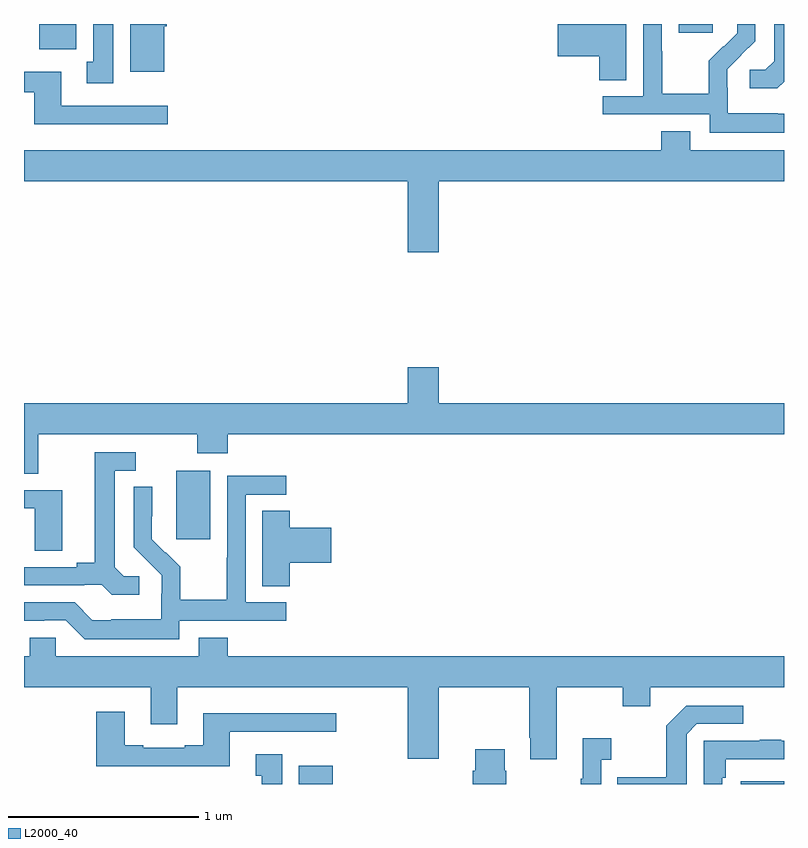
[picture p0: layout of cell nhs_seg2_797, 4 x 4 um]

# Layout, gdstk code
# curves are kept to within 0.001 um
import gdstk
lib = gdstk.Library(unit=1e-6, precision=1e-09)
def R(c, l, rs):  # rectangles x0, y0, x1, y1
    for r in rs: c.add(gdstk.rectangle(r[:2], r[2:], *l))
def P(c, l, *ps):  # polygons
    for p in ps: c.add(gdstk.Polygon(p, *l))
L2000_40 = (2000, 40)

nhs_seg2_797 = lib.new_cell('nhs_seg2_797')
R(nhs_seg2_797, L2000_40, [(152.447,641.8,152.626,641.896), (154.773,641.8,155,641.814), (151.802,643.089,151.981,643.45), (151.079,645.668,151.276,645.8), (154.445,645.753,154.624,645.8)])
P(nhs_seg2_797, L2000_40, [(151.471,645.8),(151.364,645.8),(151.364,645.602),(151.331,645.602),(151.331,645.489),(151.471,645.489)],
  [(155,645.497),(155,645.8),(154.949,645.8),(154.949,645.605),(154.902,645.558),(154.821,645.558),(154.821,645.461),(154.964,645.461)],
  [(155,645.327),(154.967,645.327),(154.967,645.331),(154.704,645.331),(154.704,645.465),(154.702,645.465),(154.702,645.562),(154.848,645.71),(154.848,645.8),(154.754,645.8),(154.754,645.752),(154.683,645.681),(154.68,645.684),(154.603,645.607),(154.603,645.433),(154.359,645.433),(154.359,645.656),(154.356,645.656),(154.356,645.8),(154.26,645.8),(154.26,645.42),(154.047,645.42),(154.047,645.324),(154.608,645.324),(154.608,645.227),(155,645.227)],
  [(151.738,645.788),(151.751,645.788),(151.751,645.8),(151.559,645.8),(151.559,645.548),(151.738,645.548)],
  [(154.171,645.8),(153.81,645.8),(153.81,645.629),(154.028,645.629),(154.028,645.505),(154.171,645.505)],
  [(151.756,645.369),(151.195,645.369),(151.195,645.55),(151,645.55),(151,645.441),(151.055,645.441),(151.055,645.272),(151.756,645.272)],
  [(153.184,644.972),(155,644.972),(155,645.136),(154.507,645.136),(154.507,645.235),(154.355,645.235),(154.355,645.136),(151,645.136),(151,644.972),(153.02,644.972),(153.02,644.598),(153.184,644.598)],
  [(151.075,643.64),(151.912,643.64),(151.912,643.541),(152.072,643.541),(152.072,643.64),(155,643.64),(155,643.804),(153.184,643.804),(153.184,643.993),(153.02,643.993),(153.02,643.804),(151,643.804),(151,643.432),(151.075,643.432)],
  [(151.606,642.894),(151.524,642.894),(151.477,642.941),(151.477,643.449),(151.588,643.449),(151.588,643.545),(151.373,643.545),(151.373,642.965),(151.277,642.965),(151.277,642.942),(151,642.942),(151,642.846),(151.316,642.846),(151.316,642.849),(151.41,642.849),(151.462,642.797),(151.606,642.797)],
  [(151.818,642.66),(152.38,642.66),(152.38,642.756),(152.166,642.756),(152.166,643.323),(152.38,643.323),(152.38,643.422),(152.07,643.422),(152.07,642.992),(152.068,642.992),(152.068,642.769),(151.823,642.769),(151.823,642.943),(151.746,643.02),(151.743,643.017),(151.673,643.088),(151.674,643.364),(151.578,643.364),(151.578,643.046),(151.724,642.898),(151.724,642.801),(151.722,642.801),(151.722,642.667),(151.459,642.667),(151.459,642.663),(151.359,642.663),(151.266,642.756),(151,642.756),(151,642.66),(151.106,642.66),(151.106,642.663),(151.221,642.663),(151.321,642.563),(151.818,642.563)],
  [(151.201,643.347),(151,643.347),(151,643.251),(151.056,643.251),(151.056,643.027),(151.201,643.027)],
  [(152.399,642.965),(152.617,642.965),(152.617,643.148),(152.399,643.148),(152.399,643.238),(152.255,643.238),(152.255,642.841),(152.399,642.841)],
  [(153.805,642.308),(154.15,642.308),(154.15,642.209),(154.297,642.209),(154.297,642.308),(155,642.308),(155,642.472),(152.072,642.472),(152.072,642.571),(151.919,642.571),(151.919,642.472),(151.167,642.472),(151.167,642.57),(151.029,642.57),(151.029,642.472),(151,642.472),(151,642.308),(151.667,642.308),(151.667,642.114),(151.807,642.114),(151.807,642.308),(153.02,642.308),(153.02,641.934),(153.184,641.934),(153.184,642.308),(153.658,642.308),(153.658,642.043),(153.665,642.043),(153.665,641.931),(153.805,641.931)],
  [(154.488,642.063),(154.542,642.117),(154.786,642.117),(154.786,642.213),(154.485,642.213),(154.38,642.107),(154.38,641.835),(154.123,641.835),(154.123,641.8),(154.488,641.8)],
  [(152.083,642.075),(152.644,642.075),(152.644,642.172),(151.943,642.172),(151.943,642.004),(151.847,642.004),(151.847,641.991),(151.627,641.991),(151.627,642.004),(151.531,642.004),(151.531,642.181),(151.379,642.181),(151.379,641.894),(152.083,641.894)],
  [(154.038,641.927),(154.09,641.927),(154.09,642.04),(153.941,642.04),(153.941,641.827),(153.93,641.827),(153.93,641.8),(154.038,641.8)],
  [(154.674,641.834),(154.694,641.834),(154.694,641.931),(155,641.931),(155,642.027),(154.985,642.027),(154.985,642.032),(154.873,642.032),(154.873,642.027),(154.578,642.027),(154.578,641.8),(154.674,641.8)],
  [(153.537,641.87),(153.529,641.87),(153.529,641.983),(153.374,641.983),(153.374,641.87),(153.362,641.87),(153.362,641.8),(153.537,641.8)],
  [(152.359,641.956),(152.219,641.956),(152.219,641.843),(152.252,641.843),(152.252,641.8),(152.359,641.8)])

lib.write_gds('nhs_seg2_797.gds')
